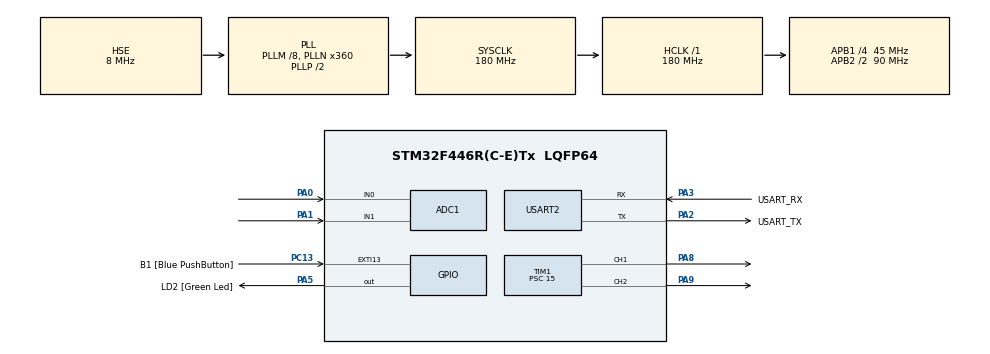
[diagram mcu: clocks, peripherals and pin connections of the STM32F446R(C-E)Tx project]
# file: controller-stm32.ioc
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ADC1.Channel-0\#ChannelRegularConversion=ADC_CHANNEL_0
ADC1.Channel-1\#ChannelRegularConversion=ADC_CHANNEL_1
ADC1.ClockPrescaler=ADC_CLOCK_SYNC_PCLK_DIV4
ADC1.ContinuousConvMode=DISABLE
ADC1.DMAContinuousRequests=DISABLE
ADC1.EOCSelection=ADC_EOC_SEQ_CONV
ADC1.NbrOfConversion=2
ADC1.NbrOfConversionFlag=1
ADC1.Rank-0\#ChannelRegularConversion=1
ADC1.Rank-1\#ChannelRegularConversion=2
ADC1.SamplingTime-0\#ChannelRegularConversion=ADC_SAMPLETIME_56CYCLES
ADC1.SamplingTime-1\#ChannelRegularConversion=ADC_SAMPLETIME_56CYCLES
ADC1.master=1
ADC2.Channel-0\#ChannelRegularConversion=ADC_CHANNEL_0
ADC2.Channel-1\#ChannelRegularConversion=ADC_CHANNEL_1
ADC2.NbrOfConversion=2
ADC2.NbrOfConversionFlag=1
ADC2.Rank-0\#ChannelRegularConversion=1
ADC2.Rank-1\#ChannelRegularConversion=2
ADC2.SamplingTime-0\#ChannelRegularConversion=ADC_SAMPLETIME_3CYCLES
ADC2.SamplingTime-1\#ChannelRegularConversion=ADC_SAMPLETIME_3CYCLES
Dma.ADC1.0.Direction=DMA_PERIPH_TO_MEMORY
Dma.ADC1.0.FIFOMode=DMA_FIFOMODE_DISABLE
Dma.ADC1.0.Instance=DMA2_Stream0
Dma.ADC1.0.MemDataAlignment=DMA_MDATAALIGN_WORD
Dma.ADC1.0.MemInc=DMA_MINC_ENABLE
Dma.ADC1.0.Mode=DMA_NORMAL
Dma.ADC1.0.PeriphDataAlignment=DMA_PDATAALIGN_WORD
Dma.ADC1.0.PeriphInc=DMA_PINC_DISABLE
Dma.ADC1.0.Priority=DMA_PRIORITY_LOW
Dma.Request0=ADC1
Mcu.Family=STM32F4
Mcu.Name=STM32F446R(C-E)Tx
Mcu.Package=LQFP64
NVIC.DMA2_Stream0_IRQn=true\:0\:0\:false\:false\:true\:false\:true\:true
NVIC.PriorityGroup=NVIC_PRIORITYGROUP_0
PA0-WKUP.Signal=ADCx_IN0
PA1.Signal=ADCx_IN1
PA13.GPIO_Label=TMS
PA13.Mode=Serial_Wire
PA13.Signal=SYS_JTMS-SWDIO
PA14.GPIO_Label=TCK
PA14.Mode=Serial_Wire
PA14.Signal=SYS_JTCK-SWCLK
PA2.GPIO_Label=USART_TX
PA2.Mode=Asynchronous
PA2.Signal=USART2_TX
PA3.GPIO_Label=USART_RX
PA3.Mode=Asynchronous
PA3.Signal=USART2_RX
PA5.GPIO_Label=LD2 [Green Led]
PA5.Signal=GPIO_Output
PA8.Signal=S_TIM1_CH1
PA9.Signal=S_TIM1_CH2
PB3.GPIO_Label=SWO
PB3.Signal=SYS_JTDO-SWO
PC13.GPIO_Label=B1 [Blue PushButton]
PC13.GPIO_ModeDefaultEXTI=GPIO_MODE_IT_FALLING
PC13.Signal=GPXTI13
PC14-OSC32_IN.Mode=LSE-External-Oscillator
PC14-OSC32_IN.Signal=RCC_OSC32_IN
PC15-OSC32_OUT.Mode=LSE-External-Oscillator
PC15-OSC32_OUT.Signal=RCC_OSC32_OUT
PH0-OSC_IN.Mode=HSE-External-Oscillator
PH0-OSC_IN.Signal=RCC_OSC_IN
PH1-OSC_OUT.Mode=HSE-External-Oscillator
PH1-OSC_OUT.Signal=RCC_OSC_OUT
ProjectManager.HeapSize=0x200
ProjectManager.StackSize=0x400
ProjectManager.TargetToolchain=STM32CubeIDE
RCC.48MHZClocksFreq_Value=84000000
RCC.AHBFreq_Value=180000000
RCC.APB1CLKDivider=RCC_HCLK_DIV4
RCC.APB1Freq_Value=45000000
RCC.APB1TimFreq_Value=90000000
RCC.APB2CLKDivider=RCC_HCLK_DIV2
RCC.APB2Freq_Value=90000000
RCC.APB2TimFreq_Value=180000000
RCC.CortexFreq_Value=180000000
RCC.FLatency-AdvancedSettings=FLASH_LATENCY_5
RCC.HCLKFreq_Value=180000000
RCC.HSE_VALUE=8000000
RCC.HSI_VALUE=16000000
RCC.I2S1CLockSelection=RCC_I2SAPB1CLKSOURCE_PLLSRC
RCC.PLLM=8
RCC.PLLN=360
RCC.PLLSourceVirtual=RCC_PLLSOURCE_HSE
RCC.SYSCLKFreq_VALUE=180000000
RCC.SYSCLKSource=RCC_SYSCLKSOURCE_PLLCLK
RCC.USBFreq_Value=180000000
RCC.VCOOutputFreq_Value=360000000
SH.ADCx_IN0.0=ADC1_IN0,IN0
SH.ADCx_IN0.1=ADC2_IN0,IN0
SH.ADCx_IN1.0=ADC1_IN1,IN1
SH.ADCx_IN1.1=ADC2_IN1,IN1
SH.S_TIM1_CH1.0=TIM1_CH1,PWM Generation1 CH1
SH.S_TIM1_CH2.0=TIM1_CH2,PWM Generation2 CH2
TIM1.AutoReloadPreload=TIM_AUTORELOAD_PRELOAD_ENABLE
TIM1.Channel-PWM\ Generation1\ CH1=TIM_CHANNEL_1
TIM1.Channel-PWM\ Generation2\ CH2=TIM_CHANNEL_2
TIM1.Period=4096-1
TIM1.Prescaler=15
USART2.VirtualMode=VM_ASYNC
board=NUCLEO-F446RE

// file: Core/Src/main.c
/* USER CODE BEGIN Header */
/**
  ******************************************************************************
  * @file           : main.c
  * @brief          : Main program body
  ******************************************************************************
  * @attention
  *
  * Copyright (c) 2024 STMicroelectronics.
  * All rights reserved.
  *
  * This software is licensed under terms that can be found in the LICENSE file
  * in the root directory of this software component.
  * If no LICENSE file comes with this software, it is provided AS-IS.
  *
  ******************************************************************************
  */
/* USER CODE END Header */
#include "main.h"
#include "adc.h"
#include "dma.h"
#include "tim.h"
#include "usart.h"
#include "gpio.h"
#include "stdio.h"

void SystemClock_Config(void);

int main(void)
{

  /* MCU Configuration--------------------------------------------------------*/

  /* Reset of all peripherals, Initializes the Flash interface and the Systick. */
  HAL_Init();

  /* Configure the system clock */
  SystemClock_Config();

  /* Initialize all configured peripherals */
  MX_GPIO_Init();
  MX_DMA_Init();
  MX_USART2_UART_Init();
  MX_ADC1_Init();
  MX_TIM1_Init();
  MX_ADC2_Init();
  /* USER CODE BEGIN 2 */

  uint32_t ADCValues[2] = {0,0};
  uint16_t LSensor, RSensor;
  uint32_t LMotor, RMotor;
  /* USER CODE END 2 */

  /* Infinite loop */
  /* USER CODE BEGIN WHILE */

  HAL_TIM_PWM_Start(&htim1, TIM_CHANNEL_1);
  HAL_TIM_PWM_Start(&htim1, TIM_CHANNEL_2);

  char serialData[50] = {0};

  while (1)
  {

    /* USER CODE END WHILE */

    /* USER CODE BEGIN 3 */
	  // get some values
	  HAL_ADC_Start_DMA(&hadc1, (uint32_t*)ADCValues, 2);
	  HAL_ADC_PollForConversion(&hadc1, 100);
	  LSensor = ADCValues[0];
	  RSensor = ADCValues[1];

	  //

	  // PUT YOUR CONTROLLER CODE HERE
	  LMotor = LSensor;
	  RMotor = RSensor;
	  //

	  uint8_t sz = snprintf(serialData,50,"LMotor: %lu, RMotor: %lu \r\n",LMotor, RMotor);
	  HAL_UART_Transmit(&huart2, serialData, sz, 100);

	  htim1.Instance->CCR1 = LMotor;
	  htim1.Instance->CCR2 = RMotor;

  }
  /* USER CODE END 3 */
}

void SystemClock_Config(void)
{
  RCC_OscInitTypeDef RCC_OscInitStruct = {0};
  RCC_ClkInitTypeDef RCC_ClkInitStruct = {0};

  /** Configure the main internal regulator output voltage
  */
  __HAL_RCC_PWR_CLK_ENABLE();
  __HAL_PWR_VOLTAGESCALING_CONFIG(PWR_REGULATOR_VOLTAGE_SCALE1);

  /** Initializes the RCC Oscillators according to the specified parameters
  * in the RCC_OscInitTypeDef structure.
  */
  RCC_OscInitStruct.OscillatorType = RCC_OSCILLATORTYPE_HSE;
  RCC_OscInitStruct.HSEState = RCC_HSE_ON;
  RCC_OscInitStruct.PLL.PLLState = RCC_PLL_ON;
  RCC_OscInitStruct.PLL.PLLSource = RCC_PLLSOURCE_HSE;
  RCC_OscInitStruct.PLL.PLLM = 8;
  RCC_OscInitStruct.PLL.PLLN = 360;
  RCC_OscInitStruct.PLL.PLLP = RCC_PLLP_DIV2;
  RCC_OscInitStruct.PLL.PLLQ = 2;
  RCC_OscInitStruct.PLL.PLLR = 2;
  if (HAL_RCC_OscConfig(&RCC_OscInitStruct) != HAL_OK)
  {
    Error_Handler();
  }

  /** Activate the Over-Drive mode
  */
  if (HAL_PWREx_EnableOverDrive() != HAL_OK)
  {
    Error_Handler();
  }

  /** Initializes the CPU, AHB and APB buses clocks
  */
  RCC_ClkInitStruct.ClockType = RCC_CLOCKTYPE_HCLK|RCC_CLOCKTYPE_SYSCLK
                              |RCC_CLOCKTYPE_PCLK1|RCC_CLOCKTYPE_PCLK2;
  RCC_ClkInitStruct.SYSCLKSource = RCC_SYSCLKSOURCE_PLLCLK;
  RCC_ClkInitStruct.AHBCLKDivider = RCC_SYSCLK_DIV1;
  RCC_ClkInitStruct.APB1CLKDivider = RCC_HCLK_DIV4;
  RCC_ClkInitStruct.APB2CLKDivider = RCC_HCLK_DIV2;

  if (HAL_RCC_ClockConfig(&RCC_ClkInitStruct, FLASH_LATENCY_5) != HAL_OK)
  {
    Error_Handler();
  }
}

void Error_Handler(void)
{
  __disable_irq();
  while (1)
  {
  }
}
